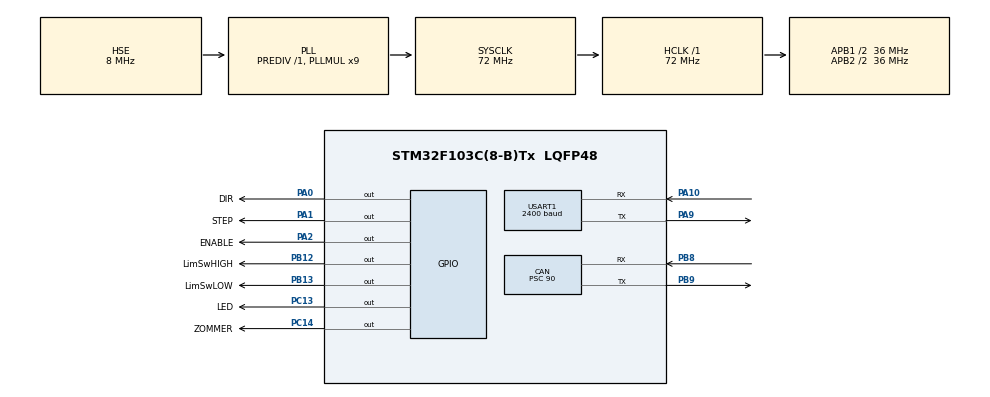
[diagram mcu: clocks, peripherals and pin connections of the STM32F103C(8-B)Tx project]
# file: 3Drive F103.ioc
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CAN.BS1=CAN_BS1_13TQ
CAN.BS2=CAN_BS2_2TQ
CAN.CalculateTimeBit=40000
CAN.CalculateTimeQuantum=2500.0
CAN.NART=ENABLE
CAN.Prescaler=90
CAN.SJW=CAN_SJW_2TQ
Dma.Request0=USART1_RX
Dma.Request1=USART1_TX
Dma.USART1_RX.0.Direction=DMA_PERIPH_TO_MEMORY
Dma.USART1_RX.0.Instance=DMA1_Channel5
Dma.USART1_RX.0.MemDataAlignment=DMA_MDATAALIGN_BYTE
Dma.USART1_RX.0.MemInc=DMA_MINC_ENABLE
Dma.USART1_RX.0.Mode=DMA_NORMAL
Dma.USART1_RX.0.PeriphDataAlignment=DMA_PDATAALIGN_BYTE
Dma.USART1_RX.0.PeriphInc=DMA_PINC_DISABLE
Dma.USART1_RX.0.Priority=DMA_PRIORITY_LOW
Dma.USART1_TX.1.Direction=DMA_MEMORY_TO_PERIPH
Dma.USART1_TX.1.Instance=DMA1_Channel4
Dma.USART1_TX.1.MemDataAlignment=DMA_MDATAALIGN_BYTE
Dma.USART1_TX.1.MemInc=DMA_MINC_ENABLE
Dma.USART1_TX.1.Mode=DMA_NORMAL
Dma.USART1_TX.1.PeriphDataAlignment=DMA_PDATAALIGN_BYTE
Dma.USART1_TX.1.PeriphInc=DMA_PINC_DISABLE
Dma.USART1_TX.1.Priority=DMA_PRIORITY_LOW
Mcu.Family=STM32F1
Mcu.Name=STM32F103C(8-B)Tx
Mcu.Package=LQFP48
NVIC.CAN1_RX1_IRQn=true\:0\:0\:false\:false\:true\:true\:true
NVIC.CAN1_SCE_IRQn=true\:0\:0\:false\:false\:true\:true\:true
NVIC.DMA1_Channel4_IRQn=true\:0\:0\:false\:false\:true\:false\:true
NVIC.DMA1_Channel5_IRQn=true\:0\:0\:false\:false\:true\:false\:true
NVIC.PriorityGroup=NVIC_PRIORITYGROUP_4
NVIC.USART1_IRQn=true\:0\:0\:false\:false\:true\:true\:true
NVIC.USB_HP_CAN1_TX_IRQn=true\:0\:0\:false\:false\:true\:true\:true
NVIC.USB_LP_CAN1_RX0_IRQn=true\:0\:0\:false\:false\:true\:false\:true
PA0-WKUP.GPIO_Label=DIR
PA0-WKUP.GPIO_PuPd=GPIO_PULLDOWN
PA0-WKUP.Signal=GPIO_Output
PA1.GPIO_Label=STEP
PA1.GPIO_PuPd=GPIO_PULLDOWN
PA1.Signal=GPIO_Output
PA10.Mode=Asynchronous
PA10.Signal=USART1_RX
PA13.Mode=Serial_Wire
PA13.Signal=SYS_JTMS-SWDIO
PA14.Mode=Serial_Wire
PA14.Signal=SYS_JTCK-SWCLK
PA2.GPIO_Label=ENABLE
PA2.GPIO_PuPd=GPIO_PULLUP
PA2.Signal=GPIO_Output
PA9.Mode=Asynchronous
PA9.Signal=USART1_TX
PB12.GPIO_Label=LimSwHIGH
PB12.Signal=GPIO_Output
PB13.GPIO_Label=LimSwLOW
PB13.Signal=GPIO_Output
PB8.Mode=Master
PB8.Signal=CAN_RX
PB9.Mode=Master
PB9.Signal=CAN_TX
PC13-TAMPER-RTC.GPIO_Label=LED
PC13-TAMPER-RTC.GPIO_PuPd=GPIO_PULLDOWN
PC13-TAMPER-RTC.Signal=GPIO_Output
PC14-OSC32_IN.GPIO_Label=ZOMMER
PC14-OSC32_IN.GPIO_PuPd=GPIO_PULLDOWN
PC14-OSC32_IN.Signal=GPIO_Output
PD0-OSC_IN.Mode=HSE-External-Oscillator
PD0-OSC_IN.Signal=RCC_OSC_IN
PD1-OSC_OUT.Mode=HSE-External-Oscillator
PD1-OSC_OUT.Signal=RCC_OSC_OUT
ProjectManager.HeapSize=0x200
ProjectManager.StackSize=0x400
ProjectManager.TargetToolchain=MDK-ARM V5.27
RCC.AHBFreq_Value=72000000
RCC.APB1CLKDivider=RCC_HCLK_DIV2
RCC.APB1Freq_Value=36000000
RCC.APB1TimFreq_Value=72000000
RCC.APB2CLKDivider=RCC_HCLK_DIV2
RCC.APB2Freq_Value=36000000
RCC.APB2TimFreq_Value=72000000
RCC.HCLKFreq_Value=72000000
RCC.PLLMUL=RCC_PLL_MUL9
RCC.PLLSourceVirtual=RCC_PLLSOURCE_HSE
RCC.SYSCLKFreq_VALUE=72000000
RCC.SYSCLKSource=RCC_SYSCLKSOURCE_PLLCLK
RCC.USBFreq_Value=48000000
RCC.USBPrescaler=RCC_USBCLKSOURCE_PLL_DIV1_5
USART1.BaudRate=2400
USART1.VirtualMode=VM_ASYNC
board=custom

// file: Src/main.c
/* USER CODE BEGIN Header */
/**
  ******************************************************************************
  * @file           : main.c
  * @brief          : Main program body
  ******************************************************************************
  * @attention
  *
  * <h2><center>&copy; Copyright (c) 2020 STMicroelectronics.
  * All rights reserved.</center></h2>
  *
  * This software component is licensed by ST under BSD 3-Clause license,
  * the "License"; You may not use this file except in compliance with the
  * License. You may obtain a copy of the License at:
  *                        opensource.org/licenses/BSD-3-Clause
  *
  ******************************************************************************
  */
/* USER CODE END Header */

#include "main.h"

/* USER CODE BEGIN PM */
	#define    DWT_CYCCNT    *(volatile uint32_t*)0xE0001004
  #define    DWT_CONTROL   *(volatile uint32_t*)0xE0001000
  #define    SCB_DEMCR     *(volatile uint32_t*)0xE000EDFC

/* USER CODE END PM */

CAN_HandleTypeDef hcan;

UART_HandleTypeDef huart1;
DMA_HandleTypeDef hdma_usart1_rx;
DMA_HandleTypeDef hdma_usart1_tx;

/* USER CODE BEGIN PV */

//uint8_t UARTTxBuffer[25] = {0};
volatile uint8_t UARTRxBuffer[25] = {0};
/* USER CODE END PV */

void SystemClock_Config(void);
static void MX_GPIO_Init(void);
static void MX_DMA_Init(void);
static void MX_CAN_Init(void);
static void MX_USART1_UART_Init(void);
/* USER CODE BEGIN PFP */
CAN_TxHeaderTypeDef   TxHeader;
CAN_TxHeaderTypeDef   TxHeaderTo2;
CAN_RxHeaderTypeDef   RxHeader;
uint8_t               CANRxData[8];
uint32_t              TxMailbox;

//variable for drive
	volatile uint32_t Goal = 0; 					// Goal of cart position
	volatile uint32_t Position = 0;   		// position whaere cart located
	volatile uint32_t MinDelay = 27000;//normal 20000// Max Speed (delay between toggles step pin than speed is MAX)
	volatile uint32_t StepDelay = 0;			// delay between steps
	volatile uint16_t Boost = 12000; 			// 1 = MAX boost 65535 = MIN boost
	volatile uint32_t MinSpeed = 600;	  // move graphic boost function to left side. Whan value == 0 boost function do not move

//variales for calibration
	volatile uint32_t MaxGoal =0;
	GPIO_PinState  MoveDown = GPIO_PIN_RESET, MoveUp = GPIO_PIN_SET; // Direction for moving Up or Down
	volatile uint8_t CalibrationFlag = 0;

//variables	for CAN connection

	// variables for 2nd block
	volatile uint32_t Y2MinDelaySpeed = 0;
	volatile uint32_t Y2DelaySpeed = 0;
	volatile uint32_t Y2MaxPosition = 0;
	volatile uint32_t Y2Position = 0;
	volatile uint16_t Y2RxFlags = 0;

	//variables for 1st block
	volatile int16_t  Z1Position = 0;
	volatile uint16_t Z1PawSize = 0;
	volatile uint16_t Z1PawSizeTuch = 0;
	volatile uint16_t Z1PawPosRange = 0;
	volatile uint16_t Z1PawNegRange = 0;
	volatile uint32_t Z1PawMinDelay = 0;
	volatile int16_t  Z1ConvRot = 0;
	volatile uint16_t Z1RxFlags = 0;
	volatile uint8_t  Z1GapPawSize = 50; // this value add to PawSize for mowing paws in Gap between boxes

// variables for hucking box
	volatile int16_t Z1BoxPos = 0;
	volatile int16_t Z1StartBox = 0;
	volatile int16_t Z1EndBox = 0;
	volatile int16_t Z1ExpectedGoal = 0;
	volatile int16_t Z1code = 0;

// Distance detectors from rangefinder
	volatile uint8_t  Z1Distance1 =0;
	volatile uint8_t  Z1Distance2 =0;
	volatile uint8_t  Z1Distance3 =0;
	volatile uint8_t  Z1Distance4 =0;

	//structure for sheduling of route
	//if command code == 1
	struct DataRout
	{
		uint32_t CoordGoalX;
		uint32_t CoordGoalY;
		int16_t  CoordGoalZ;
		uint16_t SizeOfGoal;
		uint16_t DepthOfGoal;
		uint32_t CoordDropX;
		uint32_t CoordDropY;
		int16_t  CoordDropZ;
	}RxDataRout[2] = {0}; //massive of 240 bytes SRAM;

	uint16_t RoadSteps =0;

	//struct for variables for sheduling loder
	//if command code == 2
	struct SShedulingLoader
	{
		uint32_t GetXPos;
		uint32_t GetYPos;
		uint16_t PawSizeGet;
	}LoadShedul;

	uint8_t LoadFlags = 0;

	struct SMove
	{
		uint32_t CoordGoalX;
		uint32_t CoordGoalY;
	} MoveShedul;

	uint8_t MoveFlag;

/* USER CODE END PFP */

int main(void)
{
  /* USER CODE BEGIN 1 */

  SCB_DEMCR |= CoreDebug_DEMCR_TRCENA_Msk;// ????????? ???????????? DWT
  DWT_CONTROL|= DWT_CTRL_CYCCNTENA_Msk; // ???????? ???????
  DWT_CYCCNT = 0;// ???????? ???????

	/////Variables

  /* USER CODE END 1 */

  /* MCU Configuration--------------------------------------------------------*/

  /* Reset of all peripherals, Initializes the Flash interface and the Systick. */
  HAL_Init();

  /* Configure the system clock */
  SystemClock_Config();

  /* Initialize all configured peripherals */
  MX_GPIO_Init();
  MX_DMA_Init();
  MX_CAN_Init();
  MX_USART1_UART_Init();
  /* USER CODE BEGIN 2 */
	HAL_GPIO_WritePin(ENABLE_GPIO_Port, ENABLE_Pin, GPIO_PIN_SET); // turn Off drivers

	GPIOC->ODR = 0 << 13;HAL_Delay(3000);GPIOC->ODR = 1 << 13;//HAL_Delay(1500);

  /* USER CODE END 2 */

  /* Infinite loop */
  /* USER CODE BEGIN WHILE */

	HAL_UART_Receive_DMA(&huart1, UARTRxBuffer, sizeof(UARTRxBuffer));

//CanTxMsg(0,0x0201,0);
//while (((Y2RxFlags & 1<<1) != ((uint16_t)1<<1))){GPIOC->ODR = 0 << 13;HAL_Delay(100);}
		uint8_t Msg1Ok[] = {"Start progran, whait command!"};
		HAL_UART_Transmit_DMA(&huart1, Msg1Ok, sizeof(Msg1Ok));

  while (1)
  {
		ShedulerOfLoad();
		ShedulerOfRoad();
		ShedulerOfMove();
		MotorControl();
		CalobrationDistance();

		//for debug///////
		//GPIOC->ODR = 1 << 13;
		///end debug///////////

    /* USER CODE END WHILE */

  }
}

void SystemClock_Config(void)
{
  RCC_OscInitTypeDef RCC_OscInitStruct = {0};
  RCC_ClkInitTypeDef RCC_ClkInitStruct = {0};

  /** Initializes the CPU, AHB and APB busses clocks
  */
  RCC_OscInitStruct.OscillatorType = RCC_OSCILLATORTYPE_HSE;
  RCC_OscInitStruct.HSEState = RCC_HSE_ON;
  RCC_OscInitStruct.HSEPredivValue = RCC_HSE_PREDIV_DIV1;
  RCC_OscInitStruct.HSIState = RCC_HSI_ON;
  RCC_OscInitStruct.PLL.PLLState = RCC_PLL_ON;
  RCC_OscInitStruct.PLL.PLLSource = RCC_PLLSOURCE_HSE;
  RCC_OscInitStruct.PLL.PLLMUL = RCC_PLL_MUL9;
  if (HAL_RCC_OscConfig(&RCC_OscInitStruct) != HAL_OK)
  {
    Error_Handler();
  }
  /** Initializes the CPU, AHB and APB busses clocks
  */
  RCC_ClkInitStruct.ClockType = RCC_CLOCKTYPE_HCLK|RCC_CLOCKTYPE_SYSCLK
                              |RCC_CLOCKTYPE_PCLK1|RCC_CLOCKTYPE_PCLK2;
  RCC_ClkInitStruct.SYSCLKSource = RCC_SYSCLKSOURCE_PLLCLK;
  RCC_ClkInitStruct.AHBCLKDivider = RCC_SYSCLK_DIV1;
  RCC_ClkInitStruct.APB1CLKDivider = RCC_HCLK_DIV2;
  RCC_ClkInitStruct.APB2CLKDivider = RCC_HCLK_DIV2;

  if (HAL_RCC_ClockConfig(&RCC_ClkInitStruct, FLASH_LATENCY_2) != HAL_OK)
  {
    Error_Handler();
  }
}

static void MX_CAN_Init(void)
{

  hcan.Instance = CAN1;
  hcan.Init.Prescaler = 90;
  hcan.Init.Mode = CAN_MODE_NORMAL;
  hcan.Init.SyncJumpWidth = CAN_SJW_2TQ;
  hcan.Init.TimeSeg1 = CAN_BS1_13TQ;
  hcan.Init.TimeSeg2 = CAN_BS2_2TQ;
  hcan.Init.TimeTriggeredMode = DISABLE;
  hcan.Init.AutoBusOff = DISABLE;
  hcan.Init.AutoWakeUp = DISABLE;
  hcan.Init.AutoRetransmission = ENABLE;
  hcan.Init.ReceiveFifoLocked = DISABLE;
  hcan.Init.TransmitFifoPriority = DISABLE;
  if (HAL_CAN_Init(&hcan) != HAL_OK)
  {
    Error_Handler();
  }
  /* USER CODE BEGIN CAN_Init 2 */
/* Configure the CAN Filter */
	 CAN_FilterTypeDef  sFilterConfig;
	//filter bank for massege from 1 block
  sFilterConfig.FilterBank = 0;
  sFilterConfig.FilterMode = CAN_FILTERMODE_IDMASK;
  sFilterConfig.FilterScale = CAN_FILTERSCALE_16BIT;
  sFilterConfig.FilterIdHigh = 0x0300 << 5;
  sFilterConfig.FilterIdLow = 0x0000;
  sFilterConfig.FilterMaskIdHigh = 0x0F00 << 5;
  sFilterConfig.FilterMaskIdLow = 0xFFFF;
  sFilterConfig.FilterFIFOAssignment = CAN_RX_FIFO0;
  sFilterConfig.FilterActivation = ENABLE;
  sFilterConfig.SlaveStartFilterBank = 14;

	if (HAL_CAN_ConfigFilter(&hcan, &sFilterConfig) != HAL_OK)
  {
    /* Filter configuration Error */
    Error_Handler();
  }

	// fiter bank for massege from 2 block
  sFilterConfig.FilterBank = 1;
  sFilterConfig.FilterIdHigh = 0x0700 << 5;
  sFilterConfig.FilterIdLow = 0x0000;
  sFilterConfig.FilterMaskIdHigh = 0x0F00 << 5;
  sFilterConfig.FilterMaskIdLow = 0xFFFF;

  if (HAL_CAN_ConfigFilter(&hcan, &sFilterConfig) != HAL_OK)
  {
    /* Filter configuration Error */
    Error_Handler();
  }

  /* Start the CAN peripheral */
  if (HAL_CAN_Start(&hcan) != HAL_OK)
  {
    /* Start Error */
    Error_Handler();
  }

  /* Activate CAN RX notification */
  if (HAL_CAN_ActivateNotification(&hcan, CAN_IT_RX_FIFO0_MSG_PENDING) != HAL_OK)
  {
    /* Notification Error */
    Error_Handler();
  }

  /* Configure Transmission process */

 // TxHeaderTo1.StdId = 0x3100;
 // TxHeaderTo1.RTR = CAN_RTR_DATA;
  TxHeader.IDE = CAN_ID_STD;
  //TxHeaderTo1.DLC = 8;
  TxHeader.TransmitGlobalTime = DISABLE;

  /* USER CODE END CAN_Init 2 */

}

static void MX_USART1_UART_Init(void)
{

  huart1.Instance = USART1;
  huart1.Init.BaudRate = 2400;
  huart1.Init.WordLength = UART_WORDLENGTH_8B;
  huart1.Init.StopBits = UART_STOPBITS_1;
  huart1.Init.Parity = UART_PARITY_NONE;
  huart1.Init.Mode = UART_MODE_TX_RX;
  huart1.Init.HwFlowCtl = UART_HWCONTROL_NONE;
  huart1.Init.OverSampling = UART_OVERSAMPLING_16;
  if (HAL_UART_Init(&huart1) != HAL_OK)
  {
    Error_Handler();
  }

}

static void MX_DMA_Init(void)
{

  /* DMA controller clock enable */
  __HAL_RCC_DMA1_CLK_ENABLE();

  /* DMA interrupt init */
  /* DMA1_Channel4_IRQn interrupt configuration */
  HAL_NVIC_SetPriority(DMA1_Channel4_IRQn, 0, 0);
  HAL_NVIC_EnableIRQ(DMA1_Channel4_IRQn);
  /* DMA1_Channel5_IRQn interrupt configuration */
  HAL_NVIC_SetPriority(DMA1_Channel5_IRQn, 0, 0);
  HAL_NVIC_EnableIRQ(DMA1_Channel5_IRQn);

}

static void MX_GPIO_Init(void)
{
  GPIO_InitTypeDef GPIO_InitStruct = {0};

  /* GPIO Ports Clock Enable */
  __HAL_RCC_GPIOC_CLK_ENABLE();
  __HAL_RCC_GPIOD_CLK_ENABLE();
  __HAL_RCC_GPIOA_CLK_ENABLE();
  __HAL_RCC_GPIOB_CLK_ENABLE();

  /*Configure GPIO pin Output Level */
  HAL_GPIO_WritePin(GPIOC, LED_Pin|ZOMMER_Pin, GPIO_PIN_RESET);

  /*Configure GPIO pin Output Level */
  HAL_GPIO_WritePin(GPIOA, DIR_Pin|STEP_Pin|ENABLE_Pin, GPIO_PIN_RESET);

  /*Configure GPIO pin Output Level */
  HAL_GPIO_WritePin(GPIOB, LimSwHIGH_Pin|LimSwLOW_Pin, GPIO_PIN_RESET);

  /*Configure GPIO pins : LED_Pin ZOMMER_Pin */
  GPIO_InitStruct.Pin = LED_Pin|ZOMMER_Pin;
  GPIO_InitStruct.Mode = GPIO_MODE_OUTPUT_PP;
  GPIO_InitStruct.Pull = GPIO_PULLDOWN;
  GPIO_InitStruct.Speed = GPIO_SPEED_FREQ_LOW;
  HAL_GPIO_Init(GPIOC, &GPIO_InitStruct);

  /*Configure GPIO pins : DIR_Pin STEP_Pin */
  GPIO_InitStruct.Pin = DIR_Pin|STEP_Pin;
  GPIO_InitStruct.Mode = GPIO_MODE_OUTPUT_PP;
  GPIO_InitStruct.Pull = GPIO_PULLDOWN;
  GPIO_InitStruct.Speed = GPIO_SPEED_FREQ_LOW;
  HAL_GPIO_Init(GPIOA, &GPIO_InitStruct);

  /*Configure GPIO pin : ENABLE_Pin */
  GPIO_InitStruct.Pin = ENABLE_Pin;
  GPIO_InitStruct.Mode = GPIO_MODE_OUTPUT_PP;
  GPIO_InitStruct.Pull = GPIO_PULLUP;
  GPIO_InitStruct.Speed = GPIO_SPEED_FREQ_LOW;
  HAL_GPIO_Init(ENABLE_GPIO_Port, &GPIO_InitStruct);

  /*Configure GPIO pins : LimSwHIGH_Pin LimSwLOW_Pin */
  GPIO_InitStruct.Pin = LimSwHIGH_Pin|LimSwLOW_Pin;
  GPIO_InitStruct.Mode = GPIO_MODE_OUTPUT_PP;
  GPIO_InitStruct.Pull = GPIO_NOPULL;
  GPIO_InitStruct.Speed = GPIO_SPEED_FREQ_LOW;
  HAL_GPIO_Init(GPIOB, &GPIO_InitStruct);

}

/* USER CODE BEGIN 4 */
void HAL_UART_RxCpltCallback(UART_HandleTypeDef *huart)
{
	uint8_t i = 0;
	switch (UARTRxBuffer[0])
		{
			case 0://select free cell and writing coordinates for sheduler
				//while(RxDataRout[i].CoordGoalX !=0)i++;
				RxDataRout[i].CoordGoalX = ((UARTRxBuffer[1]<<24)|(UARTRxBuffer[2]<<16)|(UARTRxBuffer[3]<<8)|(UARTRxBuffer[4]));
				RxDataRout[i].CoordGoalY = ((UARTRxBuffer[5]<<24)|(UARTRxBuffer[6]<<16)|(UARTRxBuffer[7]<<8)|(UARTRxBuffer[8]));
				RxDataRout[i].CoordGoalZ = ((UARTRxBuffer[9]<<8)|(UARTRxBuffer[10]));
				RxDataRout[i].SizeOfGoal = ((UARTRxBuffer[11]<<8)|(UARTRxBuffer[12]));
				RxDataRout[i].DepthOfGoal =((UARTRxBuffer[13]<<8)|(UARTRxBuffer[14]));
				RxDataRout[i].CoordDropX = ((UARTRxBuffer[15]<<24)|(UARTRxBuffer[16]<<16)|(UARTRxBuffer[17]<<8)|(UARTRxBuffer[18]));
				RxDataRout[i].CoordDropY = ((UARTRxBuffer[19]<<24)|(UARTRxBuffer[20]<<26)|(UARTRxBuffer[21]<<8)|(UARTRxBuffer[22]));
				RxDataRout[i].CoordDropZ = ((UARTRxBuffer[23]<<8)|(UARTRxBuffer[24]));
				RoadSteps=1;
			break;
			case 1:// move to X, Y coordinates
				MoveShedul.CoordGoalX = ((UARTRxBuffer[1]<<24)|(UARTRxBuffer[2]<<16)|(UARTRxBuffer[3]<<8)|(UARTRxBuffer[4]));
				MoveShedul.CoordGoalY = ((UARTRxBuffer[5]<<24)|(UARTRxBuffer[6]<<16)|(UARTRxBuffer[7]<<8)|(UARTRxBuffer[8]));
				MoveFlag = 1;
			break;
			case 2://scan and gripping the box
				LoadShedul.GetXPos = ((UARTRxBuffer[1]<<24)|(UARTRxBuffer[2]<<16)|(UARTRxBuffer[3]<<8)|(UARTRxBuffer[4]));
				LoadShedul.GetYPos = ((UARTRxBuffer[5]<<24)|(UARTRxBuffer[6]<<16)|(UARTRxBuffer[7]<<8)|(UARTRxBuffer[8]));
				LoadShedul.PawSizeGet = ((UARTRxBuffer[9]<<8)|(UARTRxBuffer[10]));
				Z1ExpectedGoal = ((UARTRxBuffer[11]<<8)|(UARTRxBuffer[12]));
				LoadFlags = 1;
			break;
			case 14: // calibrate X axis
				CalibrationFlag = 1;
			break;
			case 18: // calibrate Y axis
				CanTxMsg(0,0x0201,0);
			break;

		}

		HAL_UART_Receive_DMA(&huart1, UARTRxBuffer, sizeof(UARTRxBuffer));
		////////this is for prototype version:
					Z1RxFlags = 0;
		//for(char i = 0; i==25; i++)UARTRxBuffer[i] = 0;
		/////////////////////////////

}
void HAL_CAN_RxFifo0MsgPendingCallback(CAN_HandleTypeDef *hcan)
{
  /* Get RX message */
  HAL_CAN_GetRxMessage(hcan, CAN_RX_FIFO0, &RxHeader, CANRxData);

	// if massege from 1st block
	if ((RxHeader.StdId & 0xFF00) == 0x0300)
	{
		switch (RxHeader.StdId & 0x00FF)
		{
			case 1: //data u32
				// answer valie of distanse 1,2,3,4
				// resive data

				Z1RxFlags |= 1<<1;

				Z1Distance1 =	CANRxData[0];
				Z1Distance2 =	CANRxData[1];
				Z1Distance3 = CANRxData[3];
				Z1Distance4 = CANRxData[4];
			break;
			case 2:
				// Not Use

			break;
			case 3: //data u16
				// paws reached position "Z1Position"
				//GPIOC->ODR = 0 << 13;

				Z1RxFlags |= 1<<3;
				Z1Position = ( ((uint16_t) CANRxData[0]<<8) | CANRxData[1]);
			break;
			case 4: //data u16
				// capture successful, the box size is

				Z1RxFlags |= 1<<4;
				Z1PawSizeTuch = ( ((uint16_t) CANRxData[0]<<8) | CANRxData[1]);
			break;
			case 5:
				// paws in "zero" position

				Z1RxFlags |= 1<<5;
			break;
			case 6://data u16
				// paws have taken size "Z1PawSize"

				//for debug////////////////////////////////////////////////
			//GPIOC->ODR = 1<<13;
				// end debug//////////////////////////////////////////////

				Z1RxFlags |= 1<<6;
				Z1PawSize = ( ((uint16_t) CANRxData[0]<<8) | CANRxData[1] );
			break;
			case 7://data u16
				// conveyor have taken pozition "Z1ConPos"

				Z1RxFlags |= 1<<7;
				Z1ConvRot = ( ((uint16_t) CANRxData[0]<<8) | CANRxData[1] );
			break;
			case 8:
				//ERROR object btween paws not detected
				//Handler
				UARTTxMsg(201,1);
				Z1RxFlags |= 1<<8;
			break;
			case 9:
				//FATAL ERROR Box is not captured!
				// STOP ROAD PROGRAM!
				UARTTxMsg(200,1);// meens the FatalError! Box is not Captured
				//RoadSteps = 0;// STOP ROAD PROGRAM!

				Z1RxFlags |= 1<<9;
			break;
			case 0x0A:
				//ERROR paws lost zero pozition. need colibration
				// Hendler

				Z1RxFlags |= 1<<10;
			break;
			case 0x0B:
				// ERROR lost power on 1st- block!
				//Hendler

				Z1RxFlags |= 1<<11;
			break;
			case 0x0C:
				//ERROR! Box is lost until transportation
				Z1RxFlags |= 1<<12;
				// handler
			break;
			case 0x0D://data u64
				//calibration of speed and range complite,
				//Max Negative range '+' 16b, Max Posetive range '-'16b, Max Speed(Min delay)32b
				Z1RxFlags |= 1<<13;

				Z1PawNegRange = ( ((uint16_t) CANRxData[0]<<8) | CANRxData[1] );
				Z1PawPosRange = ( ((uint16_t) CANRxData[2]<<8) | CANRxData[3] );
				Z1PawMinDelay = ( ((uint32_t) CANRxData[4]<<24) | ((uint32_t) CANRxData[5]<<16) | ((uint32_t) CANRxData[6]<<8) | CANRxData[7]);
			break;
			case 0x0E://data u32
				// Start or End of BoX while scaning
				Z1RxFlags |= 1<<14;

			////for debug///////
		//GPIOC->ODR = 0 << 13;//for(uint16_t i = 0;i<65535;i++){};
			////end debug////////

				Z1BoxPos = ( ((uint16_t) CANRxData[0]<<8) | CANRxData[1] );
			break;
		}

	}
	// if maege from 2nd block
	if (((RxHeader.StdId & 0xFF00) == 0x0700))
	{
		switch (RxHeader.StdId & 0x00FF)
		{
			case 1:
				// calibration max position complete, max position is "Y2MaxPosition"

				Y2RxFlags |= 1<<1;
				Y2MaxPosition = ( ((uint32_t) CANRxData[0]<<24) | ((uint32_t) CANRxData[1]<<16) | ((uint32_t) CANRxData[2]<<8) | CANRxData[3]);
				HAL_UART_Transmit_DMA(&huart1,CANRxData,4);
				for(uint16_t i =0; i<2000; i++){}
			break;
			case 2:
				// Calibration Max Speed (MinDelay) complite, min delay is "Y2MinDelaySpeed"

				Y2RxFlags |= 1<<2;
				Y2MinDelaySpeed = ( ((uint32_t) CANRxData[0]<<24) | ((uint32_t) CANRxData[1]<<16) | ((uint32_t) CANRxData[2]<<8) | CANRxData[3]);
			break;
			case 3:
				// position "H" reached

			////////for debug////////
			GPIOC ->ODR = 1 <<13;
			//////////////////end debug

				Y2RxFlags |= 1<<3;
				Y2Position =( ((uint32_t) CANRxData[0]<<24) | ((uint32_t) CANRxData[1]<<16) | ((uint32_t) CANRxData[2]<<8) | CANRxData[3]);
				// Flag position reached
			break;
			case 4:
				//ERROR! lost zero point. Need colibration max position(command 1)

				Y2RxFlags |= 1<<4;
				// Flag error/ lot zero point. Hendler!
			break;
			case 5:
				//ERROR! lost power on 2nd block!

				Y2RxFlags |= 1<<5;
				// hendler
			break;
		}
	}

	/* Display LEDx */
  /*if ((RxHeader.StdId == 0x0030) && (RxHeader.IDE == CAN_ID_STD) && (RxHeader.DLC == 8))
  {
		GPIOC->ODR = RxData[0] << 13;
	}
	*/
}

void HAL_CAN_TxMailbox0CompleteCallback (CAN_HandleTypeDef *hcan)
{
	 //GPIOC->ODR = 0 << 13;
//	HAL_Delay(100);
	//GPIOC->ODR = 1 << 13;

}

char MotorControl (void)
{
	/* This function for work use graphic (1/x*x)

	Global variables for work this function:

	uint32_t Goal = 0; 					// Goal of cart position
	uint32_t Position = 0;   		// position whaere cart located
	uint32_t MinDelay = 20000;  // Max Speed (delay between toggles step pin than speed is MAX)
	uint32_t StepDelay = 0;			// delay between steps
	uint16_t Boost = 8000; 			// 1 = MAX boost 65535 = MIN boost
	uint32_t MinSpeed = 600;	  // move graphic boost function to left side. Whan value == 0 boost function do not move
	*/

		static uint32_t Distance = 0;		// nomber of steps between Location and Goal
		static uint32_t Step = 0;				// nomber of step
		static uint8_t FlagStep = 0;

	if (Position != Goal)
	{
		HAL_GPIO_WritePin(ENABLE_GPIO_Port, ENABLE_Pin, GPIO_PIN_RESET);

		// Direction computing
		if(Goal < Position)
			{
				Distance = Position - Goal;
				HAL_GPIO_WritePin(DIR_GPIO_Port, DIR_Pin, MoveDown);
			}
		else
			{
				Distance = Goal - Position;
				HAL_GPIO_WritePin(DIR_GPIO_Port, DIR_Pin, MoveUp);
			}

		// pulce fore drive	control
		if(DWT_CYCCNT > 1000 && FlagStep == 1) // turn off Step Pin. Make pulse long ~ 20mks
				{
					HAL_GPIO_WritePin(STEP_GPIO_Port, STEP_Pin, GPIO_PIN_RESET);
					FlagStep = 0;
				}

		// Boost
		if (Step < Distance/2 && StepDelay < DWT_CYCCNT)
			{
				HAL_GPIO_WritePin(STEP_GPIO_Port, STEP_Pin, GPIO_PIN_SET);
				DWT_CYCCNT = 0;	//counter of tacts = 0
				FlagStep = 1;
				Step++;
				StepDelay = ((MinDelay*Boost)/(((Step)*(Step))+MinSpeed))+MinDelay; // computing delay
			}

		// SLowDOwn (inverted boot)
		if (Step >= Distance/2 && StepDelay < DWT_CYCCNT)
			{
				HAL_GPIO_WritePin(STEP_GPIO_Port, STEP_Pin, GPIO_PIN_SET);
				DWT_CYCCNT = 0;
				FlagStep = 1;
				Step++;
				StepDelay = ((MinDelay*Boost)/(((Distance-Step)*(Distance-Step))+MinSpeed))+MinDelay;
			}

			// if we arrived to destenation
	if (Step == Distance)
			{
					Position = Goal;
					Distance=0;
					Step = 0;
					FlagStep = 0;
					StepDelay = 0;
					HAL_GPIO_WritePin(ENABLE_GPIO_Port, ENABLE_Pin, GPIO_PIN_SET);
					return 0; // Function Finish Work
			}
			return 1;	// Function in Work
		}
	return 0; // Function redy to Work
}

void ShedulerOfRoad(void)
{
	//if((RxDataRout[0].CoordGoalX != 0) && (Z1RxFlags == 0) && RoutSteps==0	) RF.Step1 = 1;

	//1 step start
	if	(RoadSteps == 1)
		{
			Goal = RxDataRout[0].CoordGoalX;//moving axis X
			CanTxMsg (RxDataRout[0].CoordGoalY, 0x0203, 4);// moving axis Y
			CanTxMsg (RxDataRout[0].SizeOfGoal - Z1GapPawSize, 0x0106, 2);//reduction paws size SizeOfGoal + Gap
			RoadSteps = 2;
			///for debug/////////////////
			GPIOC->ODR = 0 << 13;
			/////end debug///////////////
		}
	//1 step finish, 2 step start
	if ( ((Y2RxFlags & 1<<3) == ((uint16_t)1<<3)) && ((Z1RxFlags & 1<<6)== ((uint16_t)1<<6)) && (Goal == Position) && (RoadSteps==2) )
		{
			CanTxMsg(RxDataRout[0].CoordGoalZ, 0x0103, 2);//moving paws to box
			RoadSteps = 3;
			Y2RxFlags &= ~(1<<3);
			Z1RxFlags &= ~(1<<6);
			///for debug/////////////////
			//GPIOC->ODR = 1 << 13;
			/////end debug///////////////
		}
	//2 step finish, 3 step start
					if ( ((Z1RxFlags & 1<<9)==((uint16_t)1<<9)) )
							{
								RoadSteps = 0;// STOP ROAD PROGRAM!
								CanTxMsg(0, 0x0105, 0);// Go paws to "0" position
								Z1RxFlags &= ~(1<<9);
							}
	if ( ((Z1RxFlags & 1<<3)==((uint16_t)1<<3)) && (RoadSteps==3) )
		{
			CanTxMsg(0,0x0104, 0);//captire the Box
			Z1RxFlags &= ~(1<<3);
			RoadSteps=4;
		}
	//3 step finish, 4 step start
	if ( ((Z1RxFlags & 1<<4)==((uint16_t)1<<4)) && (RoadSteps== 4) )
		{
			//uint8_t msg512[] = {"Box Capture success! Size:"};
			//HAL_UART_Transmit_DMA (&huart1,msg512,sizeof(msg512));
			HAL_UART_Transmit_DMA (&huart1,CANRxData/*(uint8_t*)&Z1PawSizeTuch*/,2);
			CanTxMsg(0, 0x0105, 0);// Go paws to "0" position
			Z1RxFlags &= ~(1<<4);
			RoadSteps =5;
		}
		// while RF.Step5 == 1 chack ERRORs Paws
	//4 step finish, 5 step start
	if ( ((Z1RxFlags & 1<<5)==((uint16_t)1<<5)) && (RoadSteps == 5) )
		{
			CanTxMsg(RxDataRout[0].CoordDropY,0x0203,4);// moving axis Y to drop position
			Goal = RxDataRout[0].CoordDropX;// moving axis X to drop position
			Z1RxFlags &= ~(1<<5);
			RoadSteps = 6;
		}
	//5 step finish, 6 step start
	if ( ((Y2RxFlags & 1<<3) == ((uint16_t)1<<3)) && (Goal == Position) && (RoadSteps == 6) )
		{
			CanTxMsg(RxDataRout[0].CoordDropZ, 0x0103,2);//moving paws to drop position
			Y2RxFlags &= ~(1<<3);
			RoadSteps = 7;
		}
	 if ( ((Z1RxFlags & 1<<3)==((uint16_t)1<<3)) && (RoadSteps == 7) )
		{
			CanTxMsg (Z1PawSizeTuch - Z1GapPawSize, 0x0106, 2);//reduction paws size Z1PawSizeTuch + Gap
			Z1RxFlags &= ~(1<<3);
			RoadSteps = 8;
		}
	 if ( ((Z1RxFlags & 1<<6)== ((uint16_t)1<<6)) && (RoadSteps == 8) )
	  {
			CanTxMsg (0, 0x0105, 0);// GO paws to "0" Position!
			RoadSteps = 9;
		}
		if ( ((Z1RxFlags & 1<<5)==((uint16_t)1<<5)) && (RoadSteps == 9) )
		{
			Z1RxFlags &= ~(1<<5);
			uint8_t MsgOk[18] = {"Transfer complete!"};
			HAL_UART_Transmit_DMA(&huart1, MsgOk, 18);
			HAL_Delay(100);
			RxDataRout[0].CoordGoalX = 0;
			RoadSteps = 0;
		}
}

void ShedulerOfLoad (void)
{
	//if( (LoadShedul.GetXPos !=0) && (Z1RxFlags == 0) && (LoadFlags==0)	) LoadFlags = 1;

	if(LoadFlags == 1)
	{
		////for debug///////
		//GPIOC->ODR = 0 << 13;for(uint16_t i = 0;i<65535;i++){};
			////end debug////////
			Goal = LoadShedul.GetXPos;//moving axis X
			CanTxMsg (LoadShedul.GetYPos, 0x0203, 4);// moving axis Y
			CanTxMsg (LoadShedul.PawSizeGet, 0x0106, 2);//reduction paws size SizeOfGoal + Gap
			LoadFlags = 2;
	}
	if( (LoadFlags == 2)&& ((Y2RxFlags & 1<<3) == ((uint16_t)1<<3)) && ((Z1RxFlags & 1<<6)== ((uint16_t)1<<6)) && (Goal == Position) )
	{
		////for debug///////
	//	GPIOC->ODR = 0 << 13;for(uint16_t i = 0;i<65535;i++){};
			////end debug////////
			CanTxMsg (0, 0x010E, 0); // command for start Scan
			CanTxMsg(Z1ExpectedGoal, 0x0103,2);//moving paws over expected position
			Y2RxFlags &= ~(1<<3);
			Z1RxFlags &= ~(1<<6);
			LoadFlags=3;
	}
	if(	((Z1RxFlags & 1<<14)== ((uint16_t)1<<14))	&&(LoadFlags==3) )
	{
		if(Z1StartBox == 0 )
			{
					Z1StartBox = Z1BoxPos;
					uint8_t dat[2];
					dat[0] = Z1BoxPos>>8;
					dat[1] = Z1BoxPos;
					HAL_UART_Transmit_DMA(&huart1,dat,2);
					Z1RxFlags &= ~(1<<14);
					HAL_Delay(100);
					Z1BoxPos=0;
				//Z1StartBox=0xFFFF;
			}
		else if	(Z1EndBox == 0 && Z1StartBox !=0)
			{

				////for debug///////
		//for debug///////
	//	GPIOC->ODR = 1 << 13;
		///end debug///////////
			////end debug////////
				Z1EndBox = Z1BoxPos;
				uint8_t dat2[2];
					dat2[0] = Z1BoxPos>>8;
					dat2[1] = Z1BoxPos;
				HAL_UART_Transmit_DMA(&huart1,dat2,2);
				Z1RxFlags &= ~(1<<14);
				HAL_Delay(100);
				LoadFlags=4;
				Z1BoxPos=0;
			}

	}
	 if( (Z1RxFlags & 1<<3)== ((uint16_t)1<<3) && (LoadFlags == 4) )
	  {
			////for debug///////
	//	GPIOC->ODR = 0 << 13;for(uint16_t i = 0;i<65535;i++){};
			////end debug////////
			CanTxMsg (0, 0x0105, 0);// GO paws to "0" Position!
			LoadFlags=5;
			Z1RxFlags &= ~(1<<3);
		}
		if ( ((Z1RxFlags & 1<<5)==((uint16_t)1<<5)) && (LoadFlags == 5) )
		{
			Z1RxFlags &= ~(1<<5);
			LoadFlags=0;
			Z1StartBox =0;
			Z1EndBox = 0;

			////for debug///////
		//GPIOC->ODR = 0 << 13;for(uint16_t i = 0;i<65535;i++){};
			////end debug////////
//			LoadShedul.GetXPos =0;
//			LoadShedul.GetYPos = 0;
//			LoadShedul.PawSizeGet = 0;
//			Z1ExpectedGoal = 0;
		}
}

void ShedulerOfMove (void)
{
if (MoveFlag ==1)
	{
	Goal = MoveShedul.CoordGoalX;//moving axis X
	CanTxMsg (MoveShedul.CoordGoalY,0x0203,4);// moving axis Y
	MoveFlag = 2;
	}
if ( (MoveFlag == 2) && (Position == Goal) && ((Y2RxFlags & 1<<3) == ((uint16_t)1<<3)) )
{
	Y2RxFlags &= ~(1<<3);
	MoveFlag = 0;
	UARTTxMsg (101,1);
}
}

uint8_t CanTxMsg(uint64_t  Data, uint16_t Addres, uint8_t size)
{
			if (Data == 0)
				{
					TxHeader.StdId = Addres;
					TxHeader.RTR = CAN_RTR_REMOTE;
					TxHeader.DLC = 0;

					//send msg and reset flg
					if(HAL_CAN_AddTxMessage(&hcan, &TxHeader, 0, &TxMailbox) == HAL_OK) return 0;
				}

			if (size == 1)
				{
					uint8_t TxData[1];
					TxData[0] = Data;

					TxHeader.StdId = Addres;
					TxHeader.RTR = CAN_RTR_DATA;
					TxHeader.DLC = 1;

					//send msg and reset flg
					if(HAL_CAN_AddTxMessage(&hcan, &TxHeader, TxData, &TxMailbox) == HAL_OK) return 0;
				}
			if (size == 2)
				{
					uint8_t TxData[2];

					TxData[0] = Data>>8;
					TxData[1] = Data;

					TxHeader.StdId = Addres;
					TxHeader.RTR = CAN_RTR_DATA;
					TxHeader.DLC = 2;

					//send msg and reset flg
					if(HAL_CAN_AddTxMessage(&hcan, &TxHeader, TxData, &TxMailbox) == HAL_OK) return 0;
				}
			if (size == 4)
				{
					uint8_t TxData[4];

					TxData[0] = Data>>24;
					TxData[1] = Data>>16;
					TxData[2] = Data>>8;
					TxData[3] = Data;

					TxHeader.StdId = Addres;
					TxHeader.RTR = CAN_RTR_DATA;
					TxHeader.DLC = 4;

					//send msg and reset flg
					if(HAL_CAN_AddTxMessage(&hcan, &TxHeader, TxData, &TxMailbox) == HAL_OK) return 0;
				}
	return 1;
}

uint8_t CalobrationDistance (void)
{
	if ( CalibrationFlag == 1)
			{	// Calibration distance range

				uint32_t Counter = 0;
				uint32_t errorCounter =0;
				HAL_GPIO_WritePin(ENABLE_GPIO_Port, ENABLE_Pin, GPIO_PIN_RESET);	// turn on Driver
				HAL_GPIO_WritePin(DIR_GPIO_Port,DIR_Pin, GPIO_PIN_RESET);					// select DIR

					while ( ((HAL_GPIO_ReadPin(LimSwHIGH_GPIO_Port, LimSwHIGH_Pin) != GPIO_PIN_SET) && \
									 (HAL_GPIO_ReadPin(LimSwLOW_GPIO_Port,  LimSwLOW_Pin)  != GPIO_PIN_SET)) && \
									 (errorCounter < 0x0004FFFF) )
					 // stepping while Limit Switch will not pushed
					 //	For determinate low position of cart
					{
						HAL_GPIO_WritePin(STEP_GPIO_Port,STEP_Pin, GPIO_PIN_SET);
						HAL_Delay(1);
						HAL_GPIO_WritePin(STEP_GPIO_Port,STEP_Pin, GPIO_PIN_RESET);
						HAL_Delay(1);
						errorCounter++;
					}
/////////////////////////////////////////////////////////////
					if (HAL_GPIO_ReadPin(LimSwLOW_GPIO_Port, LimSwLOW_Pin) == GPIO_PIN_SET)
						{// if pushed LOW switch
							MoveDown = GPIO_PIN_RESET;
							MoveUp = GPIO_PIN_SET;
							HAL_GPIO_WritePin(DIR_GPIO_Port,DIR_Pin, MoveUp);
							errorCounter = 0;
							Counter = 0;
							while ( (HAL_GPIO_ReadPin(LimSwHIGH_GPIO_Port, LimSwHIGH_Pin) != GPIO_PIN_SET) && (errorCounter < 0x0009FFFF) )
								{
									errorCounter ++;
									Counter++;
									HAL_GPIO_WritePin(STEP_GPIO_Port,STEP_Pin, GPIO_PIN_SET);
									HAL_Delay(1);
									HAL_GPIO_WritePin(STEP_GPIO_Port,STEP_Pin, GPIO_PIN_RESET);
									HAL_Delay(1);
								}
							if (HAL_GPIO_ReadPin(LimSwHIGH_GPIO_Port, LimSwHIGH_Pin) == GPIO_PIN_SET)
								{
										HAL_GPIO_WritePin(DIR_GPIO_Port,DIR_Pin, MoveDown);
										uint16_t uncount = 0;
										while (HAL_GPIO_ReadPin(LimSwHIGH_GPIO_Port, LimSwHIGH_Pin) == 1)
										{
											uncount++;
											HAL_GPIO_WritePin(STEP_GPIO_Port,STEP_Pin, GPIO_PIN_SET);
											HAL_Delay(1);
											HAL_GPIO_WritePin(STEP_GPIO_Port,STEP_Pin, GPIO_PIN_RESET);
											HAL_Delay(1);
										}
										for (char i =0; i<=40; i++)
										{
											HAL_GPIO_WritePin(STEP_GPIO_Port,STEP_Pin, GPIO_PIN_SET);
											HAL_Delay(1);
											HAL_GPIO_WritePin(STEP_GPIO_Port,STEP_Pin, GPIO_PIN_RESET);
											HAL_Delay(1);
										}
									MaxGoal = Counter - (uncount + 40);
									Position = MaxGoal+20;
									Goal= MaxGoal+20;
									UARTTxMsg(Position, 4);
									//HAL_Delay(200);
										CalibrationFlag =0; // reset flag
										HAL_GPIO_WritePin(ENABLE_GPIO_Port, ENABLE_Pin, GPIO_PIN_SET);	//turn off Driver
									return 0; // OK
								}
						}
/////////////////////////////////////////////////////////////////////////////////
					if (HAL_GPIO_ReadPin(LimSwHIGH_GPIO_Port, LimSwHIGH_Pin) == GPIO_PIN_SET)
						{// if pushed HIGH switch
							MoveDown = GPIO_PIN_SET;
							MoveUp = GPIO_PIN_RESET;
							HAL_GPIO_WritePin(DIR_GPIO_Port,DIR_Pin, MoveDown);
							errorCounter = 0;
							Counter = 0;
							while ( (HAL_GPIO_ReadPin(LimSwLOW_GPIO_Port, LimSwLOW_Pin) != GPIO_PIN_SET) && (errorCounter < 0x0002FFFF) )
								{
									errorCounter ++;
									Counter++;
									HAL_GPIO_WritePin(STEP_GPIO_Port,STEP_Pin, GPIO_PIN_SET);
									HAL_Delay(1);
									HAL_GPIO_WritePin(STEP_GPIO_Port,STEP_Pin, GPIO_PIN_RESET);
									HAL_Delay(1);
								}
							if (HAL_GPIO_ReadPin(LimSwLOW_GPIO_Port, LimSwLOW_Pin) == GPIO_PIN_SET)
								{
										HAL_GPIO_WritePin(DIR_GPIO_Port,DIR_Pin, MoveUp);
										uint16_t uncount = 0;
										while (HAL_GPIO_ReadPin(LimSwLOW_GPIO_Port, LimSwLOW_Pin) == 1)
										{
											uncount++;
											HAL_GPIO_WritePin(STEP_GPIO_Port,STEP_Pin, GPIO_PIN_SET);
											HAL_Delay(1);
											HAL_GPIO_WritePin(STEP_GPIO_Port,STEP_Pin, GPIO_PIN_RESET);
											HAL_Delay(1);
										}
										for (char i = 0; i<20; i++ )
										{
											HAL_GPIO_WritePin(STEP_GPIO_Port,STEP_Pin, GPIO_PIN_SET);
											HAL_Delay(1);
											HAL_GPIO_WritePin(STEP_GPIO_Port,STEP_Pin, GPIO_PIN_RESET);
											HAL_Delay(1);
										}
									MaxGoal = Counter - (uncount + 40);
									Position = 0;
									Goal= 0;
									UARTTxMsg(MaxGoal, 4);
									//HAL_Delay(200);
										CalibrationFlag =0;
									 HAL_GPIO_WritePin(ENABLE_GPIO_Port, ENABLE_Pin, GPIO_PIN_SET);	//turn off Driver
									return 0; // OK
								}

						}

			}
		return 1;// ERRor
	}

uint8_t UARTTxMsg(volatile uint32_t Data, volatile uint8_t size)
{

	// FOR USE You shoude add global variables
	//static volatile uint8_t TxData4[4];

			if (size == 1)
				{
					static uint8_t TxData1[1];
					TxData1[0] = Data;

					//send msg and reset flg
					if(HAL_UART_Transmit_DMA(&huart1, TxData1, 1) == HAL_OK) return 0;
				}
			if (size == 2)
				{

					static uint8_t TxData2[2];
					TxData2[0] = Data>>8;
					TxData2[1] = Data;

					//send msg and reset flg
					if(HAL_UART_Transmit_DMA(&huart1, TxData2, 2) == HAL_OK)return 0;
				}
			if (size == 4)
				{
					static uint8_t TxData4[4];

					TxData4[0] = Data>>24;
					TxData4[1] = Data>>16;
					TxData4[2] = Data>>8;
					TxData4[3] = Data;

					//send msg and reset flg
					if(HAL_UART_Transmit_DMA(&huart1, TxData4, 4) == HAL_OK) return 0;
				}
	return 1;
}
	/* USER CODE END 4 */

void Error_Handler(void)
{
}

/************************ (C) COPYRIGHT STMicroelectronics *****END OF FILE****/
